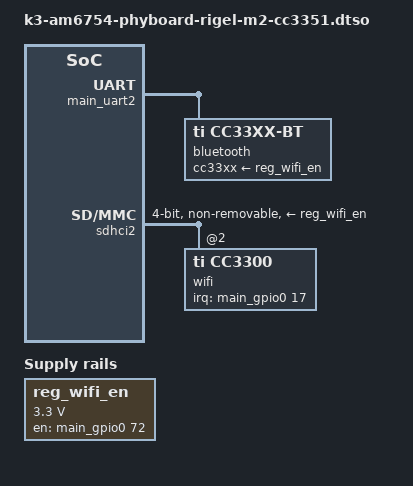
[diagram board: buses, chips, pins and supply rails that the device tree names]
// SPDX-License-Identifier: GPL-2.0-only OR MIT
/*
 * Copyright (C) 2025 PHYTEC America LLC
 * Author: John Ma <jma@phytec.com>
 */

/dts-v1/;
/plugin/;

#include <dt-bindings/gpio/gpio.h>
#include <dt-bindings/interrupt-controller/irq.h>
#include "k3-pinctrl.h"

&{/} {
	aliases {
		serial4 = "/bus@f0000/serial@2820000";
	};

	reg_wifi_en: fixed-regulator-wifi-en {
		compatible = "regulator-fixed";
		regulator-name = "wifi_en";
		regulator-min-microvolt = <3300000>;
		regulator-max-microvolt = <3300000>;
		pinctrl-names = "default";
		pinctrl-0 = <&wifi_en_pins_default>;
		gpio = <&main_gpio0 72 GPIO_ACTIVE_HIGH>;
		regulator-always-on;
		enable-active-high;
	};
};

&main_pmx0 {
	bt_en_pins_default: bt-en-pins-default{
		pinctrl-single,pins = <
			J722S_IOPAD(0x009c, PIN_INPUT, 7) /* (W26) GPMC0_WAIT1.GPIO0_38 */
			J722S_IOPAD(0x01f0, PIN_INPUT, 7) /* (A23) EXT_REFCLK1.GPIO1_30 */
			J722S_IOPAD(0x0124, PIN_INPUT, 7) /* (F26) MMC2_SDCD.GPIO0_71 */
		>;
	};

	bt_uart2_pins_default: bt-uart2-pins-default {
		pinctrl-single,pins = <
			J722S_IOPAD(0x0074, PIN_INPUT, 8) /* (V22) GPMC0_AD14.UART2_CTSn */
			J722S_IOPAD(0x0078, PIN_OUTPUT, 8) /* (V23) GPMC0_AD15.UART2_RTSn */
			J722S_IOPAD(0x005c, PIN_INPUT, 2) /* (U27) GPMC0_AD8.UART2_RXD */
			J722S_IOPAD(0x0060, PIN_OUTPUT, 2) /* (U26) GPMC0_AD9.UART2_TXD */
		>;
	};

	main_mmc2_wifi_pins_default: main-mmc2-wifi-pins-default {
		pinctrl-single,pins = <
			J722S_IOPAD(0x0120, PIN_INPUT, 0) /* (F27) MMC2_CMD */
			J722S_IOPAD(0x0118, PIN_INPUT, 0) /* (H26) MMC2_CLK */
			J722S_IOPAD(0x011C, PIN_INPUT, 0) /* () MMC2_CLKLB */
			J722S_IOPAD(0x0114, PIN_INPUT, 0) /* (G26) MMC2_DAT0 */
			J722S_IOPAD(0x0110, PIN_INPUT, 0) /* (G27) MMC2_DAT1 */
			J722S_IOPAD(0x010c, PIN_INPUT, 0) /* (H27) MMC2_DAT2 */
			J722S_IOPAD(0x0108, PIN_INPUT, 0) /* (J27) MMC2_DAT3 */
		>;
	};

	wifi_en_pins_default: wifi-en-pins-default {
		pinctrl-single,pins = <
			J722S_IOPAD(0x0128, PIN_INPUT, 7) /* (H21) MMC2_SDWP.GPIO0_72 */
		>;
	};

	wifi_wlirq_pins_default: wifi-wlirq-pins-default {
		pinctrl-single,pins = <
			J722S_IOPAD(0x0044, PIN_INPUT, 7) /* (R26) GPMC0_AD2.GPIO0_17 */
		>;
	};
};

&main_uart2 {
	pinctrl-names = "default";
	pinctrl-0 = <&bt_uart2_pins_default>;
	status = "okay";

	bluetooth {
		compatible = "ti,cc33xx-bt";
		pinctrl-names = "default";
		pinctrl-0 = <&bt_en_pins_default>;
		cc33xx-supply = <&reg_wifi_en>;
		max-speed = <115200>;
	};
};

&sdhci2 {
	vmmc-supply = <&reg_wifi_en>;
	pinctrl-names = "default";
	pinctrl-0 = <&main_mmc2_wifi_pins_default>;
	bus-width = <4>;
	non-removable;
	ti,fails-without-test-cd;
	cap-power-off-card;
	keep-power-in-suspend;
	#address-cells = <1>;
	#size-cells = <0>;
	status = "okay";

	wifi: cc3300@2 {
		compatible = "ti,cc3300";
		reg = <2>;
		pinctrl-names = "default";
		pinctrl-0 = <&wifi_wlirq_pins_default>;
		interrupt-parent = <&main_gpio0>;
		interrupts = <17 IRQ_TYPE_EDGE_FALLING>;
	};
};
